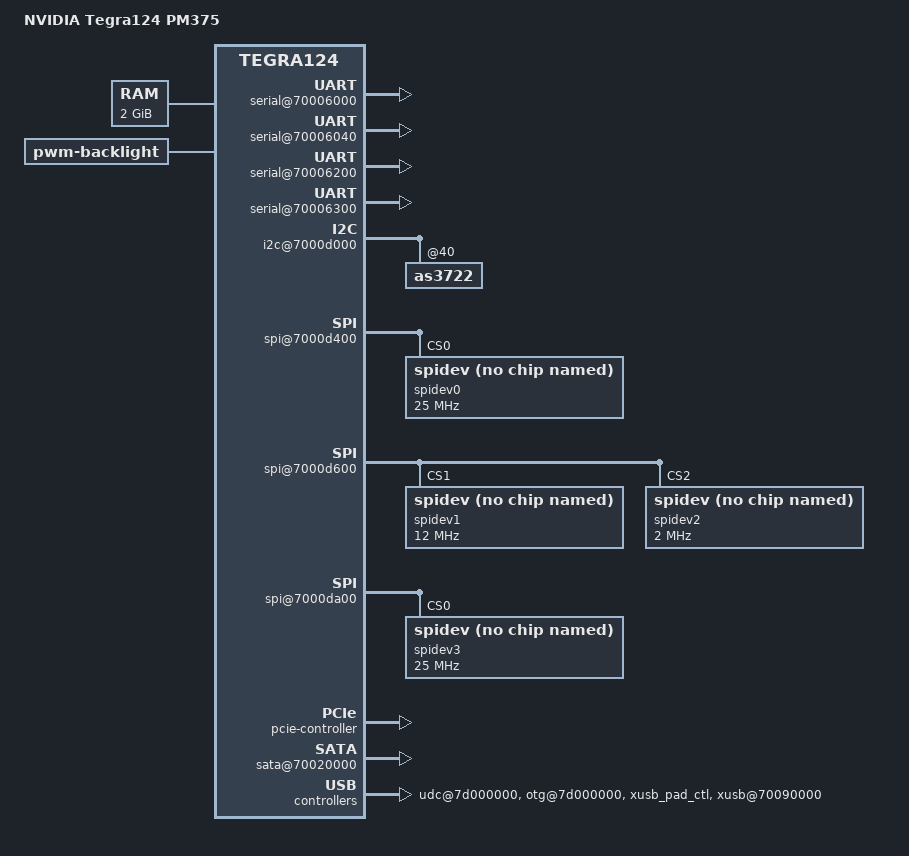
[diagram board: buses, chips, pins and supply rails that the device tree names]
/*
 * arch/arm/boot/dts/tegra124-apalis-eval.dts
 *
 * Copyright (c) 2017, NVIDIA CORPORATION.  All rights reserved.
 *
 * This program is free software; you can redistribute it and/or modify
 * it under the terms of the GNU General Public License as published by
 * the Free Software Foundation; either version 2 of the License, or
 * (at your option) any later version.
 *
 * This program is distributed in the hope that it will be useful, but WITHOUT
 * ANY WARRANTY; without even the implied warranty of MERCHANTABILITY or
 * FITNESS FOR A PARTICULAR PURPOSE.  See the GNU General Public License for
 * more details.
 *
 * You should have received a copy of the GNU General Public License along
 * with this program; if not, write to the Free Software Foundation, Inc.,
 * 51 Franklin Street, Fifth Floor, Boston, MA  02110-1301, USA.
 */

/dts-v1/;

#include "tegra124-soc-shield.dtsi"
#include "tegra124-platforms/tegra124-apalis-keys.dtsi"
#include "tegra124-platforms/tegra124-apalis-gpio.dtsi"
#include "tegra124-platforms/tegra124-apalis-pinmux.dtsi"
#include "tegra124-platforms/tegra124-apalis-pmic.dtsi"
#include "tegra124-platforms/tegra124-apalis-fixed.dtsi"
#include "tegra124-platforms/tegra124-apalis-hdmi.dtsi"
#include "tegra124-platforms/tegra124-apalis-power-tree.dtsi"

/ {
	model = "NVIDIA Tegra124 PM375";
	compatible = "nvidia,jetson-tk1", "nvidia,tegra124";
	nvidia,dtsfilename = __FILE__;
	#address-cells = <2>;
	#size-cells = <2>;

	chosen {
		bootargs = "tegraid=40.0.0.00.00 vmalloc=256M video=tegrafb console=ttyS0,115200n8 earlyprintk";
	};

	firmware {
		android {
			compatible = "android,firmware";
			hardware = "tegra";
		};
	};

	psci {
		status = "disabled";
	};

	host1x {
		/* tegradc.0 */
		dc@54200000 {
			status = "okay";
			nvidia,dc-flags = <TEGRA_DC_FLAG_ENABLED>;
			nvidia,emc-clk-rate = <300000000>;
			nvidia,cmu-enable = <1>;
			nvidia,fb-bpp = <32>; /* bits per pixel */
			nvidia,fb-flags = <TEGRA_FB_FLIP_ON_PROBE>;
		};
		hdmi {
			hdmi-display {
				nvidia,hdmi-vrr-caps = <1>;
			};
		};
	};

	pinmux@70000868 {
                pinctrl-names = "default", "drive", "unused", "suspend";
                pinctrl-3 = <&pinmux_suspend>;

                /* Change the pin dap_mclk1_req to required configurations */
                unused_lowpower {
                        dap_mclk1_req_pee2 {
                        nvidia,pins = "dap_mclk1_req_pee2";
                        nvidia,function = "sata";
                        nvidia,enable-input = <TEGRA_PIN_DISABLE>;
                        nvidia,pull = <TEGRA_PIN_PULL_NONE>;
                        nvidia,tristate = <TEGRA_PIN_DISABLE>;
                        };
                };

                /* On suspend, make dap_mclk1_req to pull up */
                pinmux_suspend: pins_on_suspend {
                dap_mclk1_req_pee2 {
                        nvidia,pins = "dap_mclk1_req_pee2";
                        nvidia,pull = <TEGRA_PIN_PULL_UP>;
                        };
                };
        };

	bcmdhd_wlan {
		edp-consumer-name = "primary-wifi";
	};

	bcmdhd_wlan {
		fw_path = "/system/vendor/firmware/fw_bcmdhd.bin";
		nv_path = "/system/etc/nvram_apalis-tk1_4356.txt";
		country_code_map {
			CC1 {
				iso_abbrev = "XR";
				custom_locale = "XR";
				custom_locale_rev = <122>;
			};
		};
	};

	/* Apalis UART1 */
	serial@70006000 {
		compatible = "nvidia,tegra114-uart", "nvidia,tegra20-uart";
		status = "okay";
	};

	/* Apalis UART2 */
	serial@70006040 {
		compatible = "nvidia,tegra114-hsuart";
		status = "okay";
	};

	/* Apalis UART3 */
	serial@70006200 {
		compatible = "nvidia,tegra114-hsuart";
		status = "okay";
	};

	/* Apalis UART4 */
	serial@70006300 {
		compatible = "nvidia,tegra114-hsuart";
		status = "okay";

	};

	i2c@7000d000 {
		nvidia,bit-banging-xfer-after-shutdown;

		as3722@40 {
			adc_extcon {
				ams,extcon-name = "as3722-extcon";
			};
		};
	};

	memory@0x80000000 {
		device_type = "memory";
		reg = <0x0 0x80000000 0x0 0x80000000>;
	};

	/* SPI1: Apalis SPI1 */
	spi@7000d400 {
		status = "okay";
		spi-max-frequency = <25000000>;

		spidev0: spidev@0 {
			compatible = "spidev";
			reg = <0>;
			spi-max-frequency = <25000000>;
		};
	};

	/* SPI2: MCU SPI */
	spi@7000d600 {
		status = "okay";
		spi-max-frequency = <25000000>;

		spidev1: spidev@1 {
			compatible = "spidev";
			reg = <1>;
			spi-max-frequency = <12000000>;
		};

		spidev2: spidev@2 {
			compatible = "spidev";
			reg = <2>;
			spi-max-frequency = <2000000>;
		};
	};

	/* SPI4: Apalis SPI2 */
	spi@7000da00 {
		status = "okay";
		spi-max-frequency = <25000000>;

		spidev3: spidev@0 {
			compatible = "spidev";
			reg = <0>;
			spi-max-frequency = <25000000>;
		};
	};

	pcie-controller {
		hvdd-pex-supply = <&reg_3v3_supply>;
		hvdd-pex-pll-e-supply = <&reg_3v3_supply>;
		dvddio-pex-supply = <&as3722_sd4>;
		avddio-pex-supply = <&as3722_sd4>;
		avdd-pex-pll-supply = <&as3722_sd4>;
		vddio-pex-ctl-supply = <&as3722_sd4>;
		nvidia,lane-map = <0x12>;
		status = "okay";

		/* Apalis PCIe (additional lane Apalis type specific) */
		pci@1,0 {
			nvidia,disable-clock-request;
			status = "okay";
		};

		/* I210 Gigabit Ethernet Controller (On-module) */
		pci@2,0 {
			nvidia,disable-clock-request;
			status = "okay";
		};
	};

	sata@70020000 {
		nvidia,enable-sata-port;
		nvidia,sata-connector-type=<STANDARD_SATA>;
		vdd_sata-supply = <&as3722_sd4>;
		avdd_sata_pll-supply =<&as3722_sd4>;
		avdd_sata-supply = <&as3722_sd4>;
		hvdd_sata-supply = <&reg_3v3_supply>;
		vddio_pex_sata-supply = <&reg_3v3_supply>;
		status = "okay";
	};

	extcon {
		extcon@0 {
			status = "disabled";
		};
	};

	udc@7d000000 {
		nvidia,port-otg;
		nvidia,charging-supported;
		#extcon-cells = <1>;
		status = "okay";
	};

        otg@7d000000 {
		#extcon-cells = <1>;
		status = "okay";
	};

	xusb_pad_ctl: xusb_padctl { /* Put common control config here */
		nvidia,ss_portmap = <0x21>;
		nvidia,lane_owner = <6>; /* Use 0xF to disable lane assign */
		nvidia,lane-map = <0x12>;
		nvidia,enable-sata-port;
		status = "okay";
	};

	xusb@70090000 {
		/* nvidia,uses_external_pmic;
		/* nvidia,gpio_controls_muxed_ss_lanes; */
		nvidia,gpio_ss1_sata = <0>;
		nvidia,ulpicap = <0>; /* No ulpi support. can we remove */
		/* nvidia,supply_utmi_vbuses = "usb_vbus0", "usb_vbus1", "usb_vbus2";
		nvidia,supply_s3p3v = "hvdd_usb";
		nvidia,supply_s1p8v = "avdd_pll_utmip";
		nvidia,supply_s1p05v = "avddio_usb"; */
		nvidia,portmap = <0x0e03>;
		nvidia,common_padctl = <&xusb_pad_ctl>;
		status = "okay";
	};

	xudc@700d0000 {
		nvidia,common_padctl = <&xusb_pad_ctl>;
		nvidia,portmap = <0x0108>;
		#extcon-cells = <1>;
		status = "disabled";
	};

	xotg {
		#extcon-cells = <1>;
		nvidia,common_padctl = <&xusb_pad_ctl>;
		status = "disabled";
	};

	backlight {
		compatible = "pwm-backlight";
		status = "okay";
	};
};
